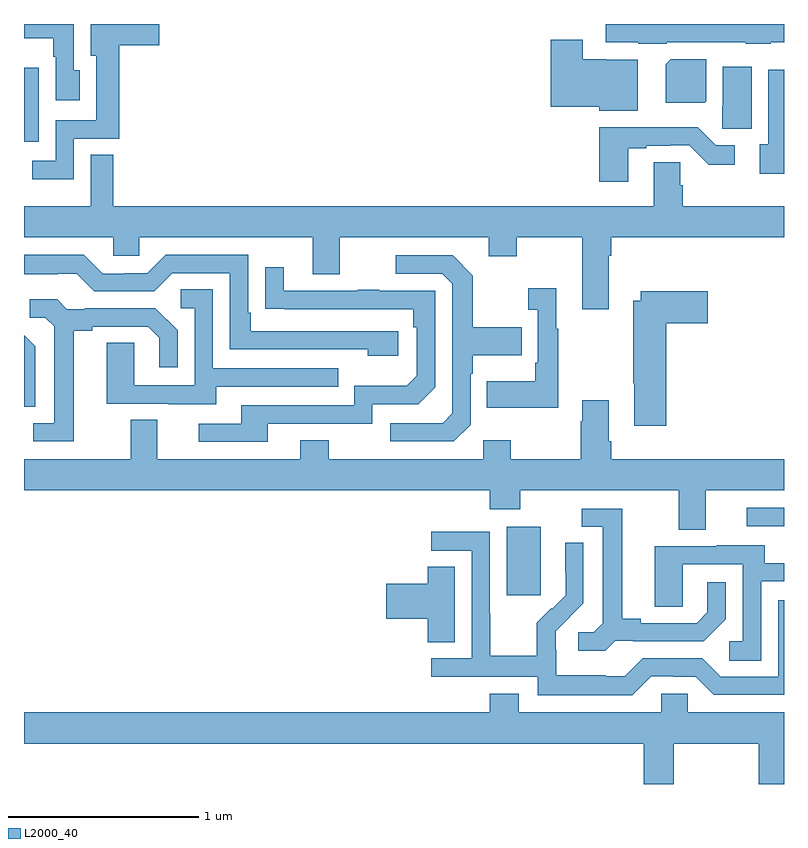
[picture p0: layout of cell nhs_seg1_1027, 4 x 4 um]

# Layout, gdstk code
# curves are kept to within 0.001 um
import gdstk
lib = gdstk.Library(unit=1e-6, precision=1e-09)
def R(c, l, rs):  # rectangles x0, y0, x1, y1
    for r in rs: c.add(gdstk.rectangle(r[:2], r[2:], *l))
def P(c, l, *ps):  # polygons
    for p in ps: c.add(gdstk.Polygon(p, *l))
L2000_40 = (2000, 40)

nhs_seg1_1027 = lib.new_cell('nhs_seg1_1027')
R(nhs_seg1_1027, L2000_40, [(169.541,539.193,169.72,539.554), (170.805,539.556,171,539.652), (167,541.58,167.077,541.969)])
P(nhs_seg1_1027, L2000_40, [(167.262,541.596),(167.5,541.596),(167.5,542.087),(167.713,542.087),(167.713,542.199),(167.351,542.199),(167.351,542.033),(167.381,542.033),(167.381,541.692),(167.166,541.692),(167.166,541.479),(167.043,541.479),(167.043,541.382),(167.262,541.382)],
  [(167.293,541.956),(167.262,541.956),(167.262,542.199),(167,542.199),(167,542.123),(167.154,542.123),(167.154,542.027),(167.166,542.027),(167.166,541.797),(167.293,541.797)],
  [(170.382,542.103),(170.799,542.103),(170.799,542.096),(170.931,542.096),(170.931,542.102),(171,542.102),(171,542.199),(170.061,542.199),(170.061,542.102),(170.232,542.102),(170.232,542.096),(170.382,542.096)],
  [(170.23,542.012),(170.064,542.012),(170.064,542.014),(169.942,542.014),(169.942,542.116),(169.772,542.116),(169.772,541.763),(170.028,541.763),(170.028,541.742),(170.23,541.742)],
  [(170.59,541.792),(170.59,542.014),(170.404,542.014),(170.378,541.988),(170.378,541.784),(170.582,541.784)],
  [(170.83,541.975),(170.678,541.975),(170.678,541.77),(170.674,541.77),(170.674,541.647),(170.83,541.647)],
  [(171,541.957),(170.918,541.957),(170.918,541.566),(170.873,541.566),(170.873,541.412),(171,541.412)],
  [(170.179,541.545),(170.275,541.545),(170.275,541.557),(170.402,541.557),(170.402,541.56),(170.502,541.56),(170.605,541.458),(170.74,541.458),(170.74,541.56),(170.64,541.56),(170.545,541.655),(170.027,541.655),(170.027,541.368),(170.179,541.368)],
  [(167.47,541.511),(167.351,541.511),(167.351,541.24),(167,541.24),(167,541.076),(167.469,541.076),(167.469,540.978),(167.607,540.978),(167.607,541.076),(168.521,541.076),(168.521,540.882),(168.661,540.882),(168.661,541.076),(169.445,541.076),(169.445,540.977),(169.593,540.977),(169.593,541.076),(169.937,541.076),(169.937,540.699),(170.077,540.699),(170.077,540.98),(170.09,540.98),(170.09,541.076),(171,541.076),(171,541.24),(170.468,541.24),(170.468,541.35),(170.454,541.35),(170.454,541.472),(170.315,541.472),(170.315,541.24),(167.47,541.24)],
  [(168.97,540.582),(168.193,540.582),(168.193,540.679),(168.18,540.679),(168.18,540.984),(167.745,540.984),(167.649,540.888),(167.531,540.888),(167.531,540.885),(167.415,540.885),(167.315,540.985),(167,540.985),(167,540.881),(167.177,540.881),(167.177,540.885),(167.277,540.885),(167.37,540.792),(167.685,540.792),(167.781,540.888),(168.084,540.888),(168.084,540.486),(168.809,540.486),(168.809,540.452),(168.97,540.452)],
  [(169.35,540.09),(169.35,540.359),(169.363,540.359),(169.363,540.455),(169.619,540.455),(169.619,540.603),(169.363,540.603),(169.363,540.875),(169.257,540.981),(168.957,540.981),(168.957,540.885),(169.2,540.885),(169.254,540.831),(169.254,540.15),(169.203,540.099),(168.927,540.099),(168.927,540.003),(169.263,540.003)],
  [(168.283,540.096),(168.834,540.096),(168.834,540.198),(169.074,540.198),(169.164,540.288),(169.164,540.795),(168.869,540.795),(168.869,540.8),(168.757,540.8),(168.757,540.795),(168.367,540.795),(168.367,540.919),(168.271,540.919),(168.271,540.7),(169.048,540.699),(169.048,540.602),(169.068,540.602),(169.068,540.348),(169.015,540.295),(168.738,540.295),(168.738,540.192),(168.143,540.192),(168.143,540.096),(167.919,540.096),(167.919,540),(168.283,540)],
  [(169.813,540.595),(169.801,540.595),(169.801,540.808),(169.653,540.808),(169.653,540.695),(169.704,540.695),(169.704,540.415),(169.692,540.415),(169.692,540.319),(169.435,540.319),(169.435,540.179),(169.813,540.179)],
  [(168.013,540.291),(168.653,540.291),(168.653,540.387),(167.994,540.387),(167.994,540.803),(167.826,540.803),(167.826,540.702),(167.898,540.702),(167.898,540.297),(167.58,540.297),(167.58,540.521),(167.435,540.521),(167.435,540.201),(167.759,540.201),(167.759,540.197),(168.013,540.197)],
  [(170.381,540.623),(170.599,540.623),(170.599,540.793),(170.246,540.793),(170.246,540.742),(170.206,540.742),(170.206,540.307),(170.213,540.307),(170.213,540.084),(170.381,540.084)],
  [(167.263,540.584),(167.359,540.584),(167.359,540.606),(167.654,540.606),(167.711,540.549),(167.711,540.393),(167.808,540.393),(167.808,540.586),(167.692,540.702),(167.32,540.702),(167.32,540.699),(167.226,540.699),(167.174,540.751),(167.031,540.751),(167.031,540.654),(167.112,540.654),(167.159,540.607),(167.159,540.099),(167.049,540.099),(167.049,540.003),(167.263,540.003)],
  [(167.058,540.502),(167,540.56),(167,540.184),(167.058,540.184)],
  [(170.587,539.744),(171,539.744),(171,539.908),(170.09,539.908),(170.09,540.004),(170.077,540.004),(170.077,540.22),(169.937,540.22),(169.937,540.107),(169.93,540.107),(169.93,539.908),(169.563,539.908),(169.563,540.007),(169.416,540.007),(169.416,539.908),(168.603,539.908),(168.603,540.007),(168.455,540.007),(168.455,539.908),(167.701,539.908),(167.701,540.116),(167.561,540.116),(167.561,539.908),(167,539.908),(167,539.744),(169.451,539.744),(169.451,539.645),(169.611,539.645),(169.611,539.744),(170.447,539.744),(170.447,539.536),(170.587,539.536)],
  [(170.112,538.953),(170.206,538.953),(170.206,538.95),(170.578,538.95),(170.694,539.066),(170.694,539.26),(170.597,539.26),(170.597,539.103),(170.54,539.046),(170.245,539.046),(170.245,539.069),(170.149,539.069),(170.149,539.649),(169.935,539.649),(169.935,539.553),(170.045,539.553),(170.045,539.045),(169.998,538.998),(169.917,538.998),(169.917,538.901),(170.06,538.901)],
  [(170.301,538.767),(170.417,538.767),(170.417,538.764),(170.535,538.764),(170.631,538.668),(171,538.668),(171,539.166),(170.97,539.166),(170.97,538.764),(170.667,538.764),(170.571,538.86),(170.256,538.86),(170.163,538.767),(170.063,538.767),(170.063,538.771),(169.8,538.771),(169.8,538.905),(169.798,538.905),(169.798,539.002),(169.944,539.15),(169.944,539.468),(169.848,539.468),(169.848,539.314),(169.85,539.314),(169.85,539.192),(169.779,539.121),(169.776,539.124),(169.699,539.047),(169.699,538.873),(169.455,538.873),(169.455,539.096),(169.452,539.096),(169.452,539.526),(169.143,539.526),(169.143,539.427),(169.356,539.427),(169.356,538.86),(169.143,538.86),(169.143,538.764),(169.704,538.764),(169.704,538.667),(170.201,538.667)],
  [(170.88,539.265),(171,539.265),(171,539.361),(170.899,539.361),(170.899,539.455),(170.645,539.455),(170.645,539.451),(170.321,539.451),(170.321,539.131),(170.466,539.131),(170.466,539.355),(170.784,539.355),(170.784,538.95),(170.712,538.95),(170.712,538.849),(170.88,538.849)],
  [(169.267,539.342),(169.124,539.342),(169.124,539.252),(168.906,539.252),(168.906,539.069),(169.124,539.069),(169.124,538.945),(169.267,538.945)],
  [(170.421,538.412),(170.866,538.412),(170.866,538.199),(171,538.199),(171,538.576),(170.493,538.576),(170.493,538.674),(170.355,538.674),(170.355,538.576),(169.603,538.576),(169.603,538.675),(169.451,538.675),(169.451,538.576),(167,538.576),(167,538.412),(170.261,538.412),(170.261,538.199),(170.421,538.199)])

lib.write_gds('nhs_seg1_1027.gds')
